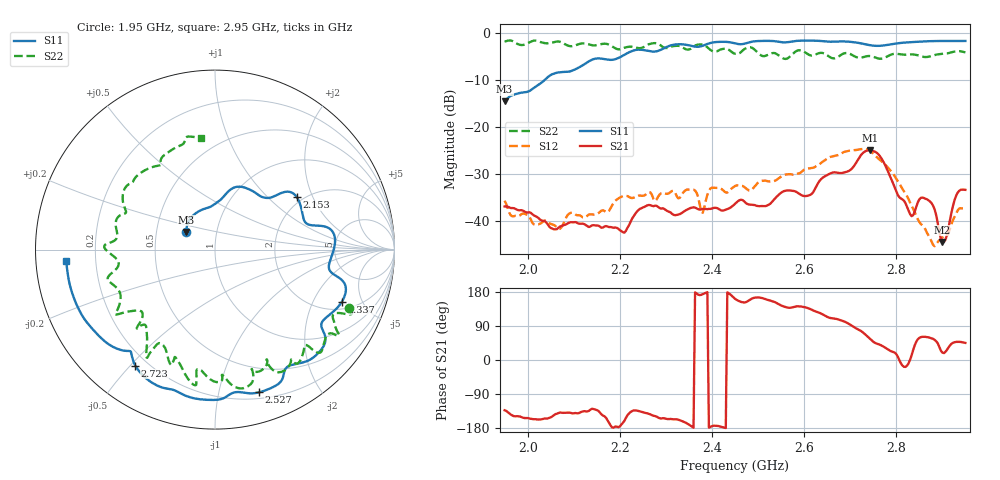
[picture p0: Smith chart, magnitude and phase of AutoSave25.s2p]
!Agilent N9923A: A.07.32
!Date: Wednesday, 01 June 2016 23:40:36
!Model: N9923A
!Serial: MY52412257
!GPS Latitude:
!GPS Longitude:
!GPS TimeStamp: 0001-01-01 00:00:00Z
!GPS Seconds Since Last Read: 0
!CHECKSUM:0034227808
!Correction: S11(ON U)S21(ON U)S12(ON U)S22(ON U)
!S2P File: Measurements:S11,S21,S12,S22:
# Hz S DB R 50
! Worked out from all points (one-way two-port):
!   301 points, 1.95 GHz to 2.95 GHz, reference 50 ohm
!   highest |S21| = -24.91 dB at 2.743 GHz (marker M1); lowest = -44.5 dB at 2.9 GHz (marker M2)
!   lowest |S11| = -14.4 dB at 1.95 GHz (marker M3), VSWR 1.47, Z = 35.5 + j7.24 ohm
!   |S11| at or under -10 dB: start of sweep to 2.036 GHz
!   |S22| runs from -5.4 to -1.5 dB; largest |S21 - S12| = 0.028
!   S11 on the Smith chart (normalised r, x): 1.95 GHz: 0.71, +0.14; 2.153 GHz: 1.86, +1.53; 2.337 GHz: 2.45, -3.42; 2.527 GHz: 0.26, -1.32; 2.723 GHz: 0.15, -0.52; 2.95 GHz: 0.09, -0.04
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1.95e9  -14.45 148.7  -36.92 -132.6  -35.70 -105.8  -1.75 -23.6
2.016667e9  -11.40 85.8  -38.98 -156.2  -40.85 -120.8  -1.51 -34.8
2.12e9  -6.77 41.5  -40.60 -135.7  -39.27 -114.4  -2.11 -53.7
2.153333e9  -5.33 32.5  -41.02 -134.1  -38.35 -115.2  -2.42 -56.1
2.21e9  -4.56 13.0  -42.52 -160.5  -34.66 -126.4  -3.05 -66.0
2.243333e9  -3.46 4.7  -37.46 -135.6  -34.58 -135.7  -3.15 -73.0
2.286667e9  -3.59 -11.2  -37.28 -153.8  -34.35 -142.3  -2.40 -83.1
2.336667e9  -2.33 -22.3  -38.18 -162.1  -34.08 -159.0  -3.01 -93.8
2.363333e9  -2.82 -32.2  -37.17 178.5  -33.53 -161.7  -2.60 -98.0
2.38e9  -2.63 -36.3  -37.45 173.7  -38.28 -171.3  -2.36 -99.1
2.396667e9  -2.04 -38.9  -37.45 -176.3  -33.08 -177.7  -3.51 -106.9
2.453333e9  -2.20 -55.4  -36.08 158.9  -32.44 160.4  -4.38 -119.8
2.526667e9  -1.59 -72.8  -36.35 156.9  -31.62 124.8  -4.33 -134.6
2.62e9  -1.54 -96.7  -33.85 130.5  -28.67 104.2  -4.67 -157.9
2.723333e9  -2.11 -124.5  -25.97 76.6  -24.69 49.3  -5.18 171.2
2.743333e9  -2.51 -128.4  -24.91 55.9  -25.09 35.3  -4.83 162.5
2.783333e9  -2.40 -132.1  -29.75 26.8  -28.80 -5.8  -4.76 152.5
2.833333e9  -1.85 -144.5  -38.99 12.7  -36.78 -46.2  -4.46 137.1
2.876667e9  -1.64 -155.6  -36.22 57.2  -44.39 -32.9  -4.83 121.7
2.9e9  -1.60 -162.0  -44.53 19.7  -43.57 14.9  -4.34 112.5
2.93e9  -1.60 -170.3  -34.61 47.8  -38.46 31.3  -3.82 104.6
2.95e9  -1.60 -175.6  -33.39 45.1  -37.23 30.1  -4.04 97.0
